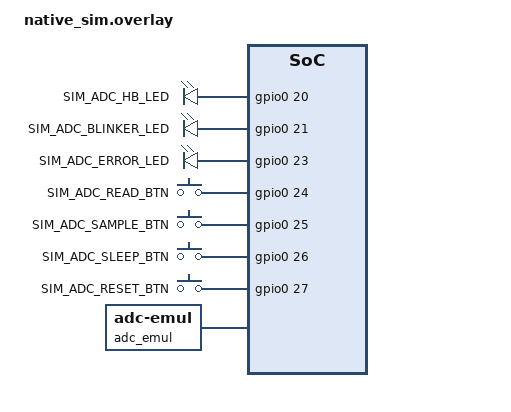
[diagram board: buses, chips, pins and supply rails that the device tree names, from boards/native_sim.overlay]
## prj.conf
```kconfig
CONFIG_LOG=y
# CONFIG_LOG_MODE_DEFERRED=y
CONFIG_LOG_BUFFER_SIZE=2048
# CONFIG_MAIN_STACK_SIZE=4096

CONFIG_SMF=y
CONFIG_EVENTS=y
CONFIG_ADC=y
# CONFIG_PWM=y

CONFIG_DEBUG_OPTIMIZATIONS=y
CONFIG_DEBUG_THREAD_INFO=y

CONFIG_FPU=y
CONFIG_ADC_ASYNC=y
CONFIG_SYS_CLOCK_TICKS_PER_SEC=1000
```

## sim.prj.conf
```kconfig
CONFIG_GPIO=y
CONFIG_GPIO_EMUL=y

CONFIG_INPUT=y
CONFIG_INPUT_GPIO_KEYS=y
CONFIG_LOG=y
CONFIG_LOG_MODE_IMMEDIATE=y
CONFIG_LOG_MODE_DEFERRED=n
CONFIG_LOG_BUFFER_SIZE=0
CONFIG_LOG_DEFAULT_LEVEL=4
CONFIG_EVENTS=y

CONFIG_ZTEST=y
CONFIG_GPIO_EMUL=y
# CONFIG_LOG_BACKEND_UART=y
CONFIG_SYS_CLOCK_TICKS_PER_SEC=1000
```

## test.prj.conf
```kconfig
# Test-specific configuration file
# This file enables ztest and is used when building for testing

CONFIG_LOG=y
CONFIG_LOG_MODE_IMMEDIATE=y
CONFIG_LOG_MODE_DEFERRED=n
CONFIG_LOG_DEFAULT_LEVEL=4

CONFIG_GPIO=y
CONFIG_EVENTS=y

# Enable Zephyr Test Framework (ztest) for unit testing
CONFIG_ZTEST=y
CONFIG_ZTEST_STACK_SIZE=2048

# When ztest is enabled, it provides its own main() function
# The student's main.c will be excluded from the test build
CONFIG_SYS_CLOCK_TICKS_PER_SEC=1000
```

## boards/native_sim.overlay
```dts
#include <zephyr/dt-bindings/adc/adc.h>

/ {
    aliases {
        heartbeat   = &sim_adc_led1;
        blinker     = &sim_adc_led2;
        error       = &sim_adc_led4;

        readbutton      = &sim_adc_btn1;   /* BUTTON0 → read_button   */
        samplingbutton  = &sim_adc_btn2;   /* BUTTON1 → sample_button */
        sleepbutton     = &sim_adc_btn3;   /* BUTTON2 → sleep_button  */
        resetbutton     = &sim_adc_btn4;   /* BUTTON3 → reset_button  */

        vadc    = &vadc_ch;
        diffadc = &diffadc_ch;
    };

    sim_adc_leds {
        compatible = "gpio-leds";

        sim_adc_led1: led_20 {
            gpios = <&gpio0 20 GPIO_ACTIVE_HIGH>;
            label = "SIM_ADC_HB_LED";
        };
        sim_adc_led2: led_21 {
            gpios = <&gpio0 21 GPIO_ACTIVE_HIGH>;
            label = "SIM_ADC_BLINKER_LED";
        };
        sim_adc_led4: led_23 {
            gpios = <&gpio0 23 GPIO_ACTIVE_HIGH>;
            label = "SIM_ADC_ERROR_LED";
        };
    };

    sim_adc_keys {
        compatible = "gpio-keys";

        sim_adc_btn1: key_24 {
            gpios = <&gpio0 24 GPIO_ACTIVE_HIGH>;
            label = "SIM_ADC_READ_BTN";
            zephyr,code = <1>;
        };
        sim_adc_btn2: key_25 {
            gpios = <&gpio0 25 GPIO_ACTIVE_HIGH>;
            label = "SIM_ADC_SAMPLE_BTN";
            zephyr,code = <1>;
        };
        sim_adc_btn3: key_26 {
            gpios = <&gpio0 26 GPIO_ACTIVE_HIGH>;
            label = "SIM_ADC_SLEEP_BTN";
            zephyr,code = <1>;
        };
        sim_adc_btn4: key_27 {
            gpios = <&gpio0 27 GPIO_ACTIVE_HIGH>;
            label = "SIM_ADC_RESET_BTN";
            zephyr,code = <1>;
        };
    };

    adc_emul: adc_emul {
        compatible = "zephyr,adc-emul";
        nchannels = <3>;          /* 0=AIN0, 1=AIN1, 2=AIN2 */
        ref-internal-mv = <3000>;

        #io-channel-cells = <1>;
        #address-cells = <1>;
        #size-cells = <0>;
        status = "okay";

        vadc_ch: channel@0 {
            reg = <0>;
            zephyr,gain             = "ADC_GAIN_1_5";
            zephyr,reference        = "ADC_REF_INTERNAL";
            zephyr,acquisition-time = <ADC_ACQ_TIME_DEFAULT>;
            zephyr,resolution       = <12>;
        };

        diffadc_ch: channel@1 {
            reg = <1>;
            zephyr,gain             = "ADC_GAIN_1";
            zephyr,reference        = "ADC_REF_INTERNAL";
            zephyr,acquisition-time = <ADC_ACQ_TIME_DEFAULT>;
            zephyr,resolution       = <16>;
            // zephyr,differential;
            // zephyr,input-negative   = <2>;
        };

        /* AIN2 — negative input for differential channel@1 */
        // channel@2 {
        //     reg = <2>;
        //     zephyr,gain             = "ADC_GAIN_1_5";
        //     zephyr,reference        = "ADC_REF_INTERNAL";
        //     zephyr,acquisition-time = <ADC_ACQ_TIME_DEFAULT>;
        //     zephyr,resolution       = <12>;
        // };
    };
};

&gpio0 {
    status = "okay";
};
```

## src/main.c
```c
#include <zephyr/kernel.h>
#include <zephyr/device.h>
#include <zephyr/devicetree.h>
#include <zephyr/drivers/gpio.h> 
#include <zephyr/logging/log.h>  // needs CONFIG_LOG=y in your prj.conf
#include <zephyr/drivers/adc.h> // CONFIG_ADC=y
// #include <zephyr/drivers/pwm.h> // CONFIG_PWM=y
#include <zephyr/smf.h> // CONFIG_SMF=y

#include "calc_cycles.h"
#include "bme554_lib.h"

LOG_MODULE_REGISTER(main, LOG_LEVEL_DBG);

/* DEFINE MACROS */
#define MS_PER_HZ                       1000
#define HB_ON_TIME                      250
#define MAX_FREQ_HZ                     5
#define MIN_FREQ_HZ                     1
#define MIN_V_MV                        0
#define MAX_V_MV                        3000
#define READ_EVENT                      BIT(0)
#define SLEEP_EVENT                     BIT(1)
#define TIMER_COMPLETE_EVENT            BIT(2)
#define RESET_EVENT                     BIT(3)
#define SAMPLE_EVENT                    BIT(4)
#define BLINKING_TIME_MS                5000
#define BUFFER_ARRAY_LEN                800
#define SAMPLE_INTERVAL                 2500
#define ADC_DT_SPEC_GET_BY_ALIAS(adc_alias)                 \
{                                                           \
    .dev = DEVICE_DT_GET(DT_PARENT(DT_ALIAS(adc_alias))),   \
    .channel_id = DT_REG_ADDR(DT_ALIAS(adc_alias)),         \
    ADC_CHANNEL_CFG_FROM_DT_NODE(DT_ALIAS(adc_alias))       \
}

/* DEFINE GLOBALS AND DT-BASED HARDWARE STRUCTS */
// buttons
const struct gpio_dt_spec read_button = GPIO_DT_SPEC_GET(DT_ALIAS(readbutton), gpios);
const struct gpio_dt_spec sample_button = GPIO_DT_SPEC_GET(DT_ALIAS(samplingbutton), gpios);
const struct gpio_dt_spec sleep_button = GPIO_DT_SPEC_GET(DT_ALIAS(sleepbutton), gpios);
const struct gpio_dt_spec reset_button = GPIO_DT_SPEC_GET(DT_ALIAS(resetbutton), gpios);

// LEDs
const struct gpio_dt_spec heartbeat_led = GPIO_DT_SPEC_GET(DT_ALIAS(heartbeat), gpios);
const struct gpio_dt_spec blinker_led = GPIO_DT_SPEC_GET(DT_ALIAS(blinker), gpios);
const struct gpio_dt_spec error_led = GPIO_DT_SPEC_GET(DT_ALIAS(error), gpios);

/* DEFINE CALLBACK FUNCTIONS */
void read_button_callback(const struct device *dev, struct gpio_callback *cb, uint32_t pins);
void sample_button_callback(const struct device *dev, struct gpio_callback *cb, uint32_t pins);
void sleep_button_callback(const struct device *dev, struct gpio_callback *cb, uint32_t pins);
void reset_button_callback(const struct device *dev, struct gpio_callback *cb, uint32_t pins);

/* DEFINE TIMER FUNCTIONS */
void blinking_interrupt_handler(struct k_timer *blinking_timer);
void led_on_interrupt_handler(struct k_timer *led_on_timer);
void led_off_interrupt_handler(struct k_timer *led_off_timer);
void led_on_stop_handler(struct k_timer *led_on_timer);

/* DEFINE THREAD FUNCTIONS */
void heartbeat_thread(void *, void *, void *);

/* DEFINE KERNEL EVENTS */
K_EVENT_DEFINE(button_events);

/* INITIALIZE GPIO CALLBACK STRUCTS */
static struct gpio_callback read_button_cb;
static struct gpio_callback sample_button_cb;
static struct gpio_callback sleep_button_cb;
static struct gpio_callback reset_button_cb;

/* INITIALIZE ADC STRUCT */
static const struct adc_dt_spec adc_vadc = ADC_DT_SPEC_GET_BY_ALIAS(vadc);
static const struct adc_dt_spec diff_vadc = ADC_DT_SPEC_GET_BY_ALIAS(diffadc);

/* DEFINE TIMERS */
K_TIMER_DEFINE(blinking_timer, blinking_interrupt_handler, NULL);
K_TIMER_DEFINE(led_on_timer, led_on_interrupt_handler, led_on_stop_handler);
K_TIMER_DEFINE(led_off_timer, led_off_interrupt_handler, NULL);

/* DEFINE THREADS */
K_THREAD_DEFINE(heartbeat_thread_id, 1024, heartbeat_thread, NULL, NULL, NULL, 5, 0, 0);

/* DECLARE STRUCT STATE TABLE AND STRUCT */
struct s_object {
    struct smf_ctx ctx;
    
    /* USER-DEFINED VARS FOR STATE MACHINE*/
    int32_t millivolts;
    float freq;
    float ontime;
    float offtime;
};

struct s_object s_context = {
    .millivolts = 0,
    .freq = 0,
    .ontime = 0,
    .offtime = 0,
};

int16_t buf;
struct adc_sequence sequence = {
    .buffer = &buf,
    .buffer_size = sizeof(buf), // bytes
};

struct adc_sequence_options options = {
        .extra_samplings = BUFFER_ARRAY_LEN - 1,
        .interval_us = SAMPLE_INTERVAL,
};

int16_t diff_buf[BUFFER_ARRAY_LEN];
struct adc_sequence diff_sequence = {
        .options = &options,
        .buffer = &diff_buf,
        .buffer_size = sizeof(diff_buf),
};

/* DECLARE STATE FUNCTIONS */
static void init(void *o);
static void reset(void *o);
static void idle_entry(void *o);
static void idle_run(void *o);
static void idle_exit(void *o);
static void sleep_run(void *o);
static void reading_entry(void *o);
static void reading_run(void *o);
static void reading_exit(void *o);
static void blinking_entry(void *o);
static void blinking_run(void *o);
static void blinking_exit(void *o);
static void error_entry(void *o);
static void error_run(void *o);
static void error_exit(void *o);
static void sample_entry(void *o);
static void sample_run(void *o);
static void sample_exit(void *o);

/* DEFINE STATES FOR STATE MACHINE */
enum state { INIT, RESET, IDLE, SLEEP, READING, BLINKING, ERROR, SAMPLE };

/* POPULATE STATE TABLE */
static const struct smf_state states[] = {
    [INIT] = SMF_CREATE_STATE(NULL, init, NULL, NULL, NULL),
    [RESET] = SMF_CREATE_STATE(NULL, reset, NULL, NULL, NULL),
    [IDLE] = SMF_CREATE_STATE(idle_entry, idle_run, idle_exit, NULL, NULL),
    [SLEEP] = SMF_CREATE_STATE(NULL, sleep_run, NULL, NULL, NULL),
    [READING] = SMF_CREATE_STATE(reading_entry, reading_run, reading_exit, NULL, NULL),
    [BLINKING] = SMF_CREATE_STATE(blinking_entry, blinking_run, blinking_exit, NULL, NULL),
    [ERROR] = SMF_CREATE_STATE(error_entry, error_run, error_exit, NULL, NULL),
    [SAMPLE] = SMF_CREATE_STATE(sample_entry, sample_run, sample_exit, NULL, NULL),
};

/* DECLARE GLOBAL VARIABLES */
int timer_error = 0;

int main(void)
{
    smf_set_initial(SMF_CTX(&s_context), &states[INIT]);
    
    while (1) {
        if (timer_error < 0) {
            return timer_error;
        }
        
        int err = smf_run_state(SMF_CTX(&s_context));
        if (err) {
            /* handle return code and terminate state machine */
            smf_set_terminate(SMF_CTX(&s_context), err);
            break;
        }
    }
    
    return 0;
}

void read_button_callback(const struct device *dev, struct gpio_callback *cb, uint32_t pins) {
    ADC_READ_TRIGGERED();
    k_event_post(&button_events, READ_EVENT);
}

void sample_button_callback(const struct device *dev, struct gpio_callback *cb, uint32_t pins) {
    k_event_post(&button_events, SAMPLE_EVENT);
    ADC_SAMPLE_TRIGGERED();
}

void sleep_button_callback(const struct device *dev, struct gpio_callback *cb, uint32_t pins) {
    k_event_post(&button_events, SLEEP_EVENT);
}

void reset_button_callback(const struct device *dev, struct gpio_callback *cb, uint32_t pins) {
    k_event_post(&button_events, RESET_EVENT);
}

void heartbeat_thread(void *, void *, void *) {
    while (1) {
        k_msleep(HB_ON_TIME);  // scheduler can run other tasks now
        int err = gpio_pin_toggle_dt(&heartbeat_led);
        if (err < 0) {
            LOG_ERR("Failed to toggle heartbeat LED.");
            timer_error = err;
            return;
        }
        LOG_INF("Heartbeat LED toggled");
        k_msleep(MS_PER_HZ - HB_ON_TIME); // scheduler can run other tasks now
        err = gpio_pin_toggle_dt(&heartbeat_led);
        if (err < 0) {
            LOG_ERR("Failed to toggle heartbeat LED.");
            timer_error = err;
            return;
        }
        LOG_INF("Heartbeat LED toggled");
    }
}

void blinking_interrupt_handler(struct k_timer *blinking_timer) {
    /* STOP TIMERS */
    k_timer_stop(&led_on_timer);
    k_timer_stop(&led_off_timer);
    
    k_event_post(&button_events, TIMER_COMPLETE_EVENT);
    ADC_BLINK_COMPLETE();
}

void led_on_interrupt_handler(struct k_timer *led_on_timer) {
    int err;
    
    /* TURN OFF LED */
    err =  gpio_pin_set_dt(&blinker_led, 0);
    if (err < 0) {
        LOG_ERR("Failed to set blinker LED.");
        smf_set_terminate(SMF_CTX(&s_context), err);
    }
    
    /* START TIMER */
    k_timer_start(&led_off_timer,
                  K_MSEC(s_context.offtime),
                  K_NO_WAIT);
}

void led_off_interrupt_handler(struct k_timer *led_off_timer) {
    int err;
    
    /* TURN OFF LED */
    err =  gpio_pin_set_dt(&blinker_led, 1);
    if (err < 0) {
        LOG_ERR("Failed to set blinker LED.");
        smf_set_terminate(SMF_CTX(&s_context), err);
    }
    
    /* START TIMERS */
    k_timer_start(&led_on_timer,
                  K_MSEC(s_context.ontime),
                  K_NO_WAIT);
}

void led_on_stop_handler(struct k_timer *led_on_timer) {
    int err;
    
    /* TURN OFF LED */
    err =  gpio_pin_set_dt(&blinker_led, 0);
    if (err < 0) {
        LOG_ERR("Failed to set blinker LED.");
        smf_set_terminate(SMF_CTX(&s_context), err);
    }
}

static void init(void *o) {
    int err = 0;
    
    /* CHECK INTERFACE READY */
    if (!device_is_ready(read_button.port)) {
        LOG_ERR("gpio0 interface not ready.");
        smf_set_terminate(SMF_CTX(&s_context), -1);
    }
    if (!device_is_ready(adc_vadc.dev)) {
        LOG_ERR("ADC controller device(s) not ready");
        smf_set_terminate(SMF_CTX(&s_context), -1);
    }
    if (!device_is_ready(diff_vadc.dev)) {
        LOG_ERR("ADC controller device(s) not ready");
        smf_set_terminate(SMF_CTX(&s_context), -1);
    }
    
    /* CONFIGURE BUTTON GPIO PINS */
    err = gpio_pin_configure_dt(&read_button, GPIO_INPUT);
    if (err < 0) {
        LOG_ERR("Cannot configure sleep button.");
        smf_set_terminate(SMF_CTX(&s_context), err);
    }
    err = gpio_pin_configure_dt(&sample_button, GPIO_INPUT);
    if (err < 0) {
        LOG_ERR("Cannot configure sample button.");
        smf_set_terminate(SMF_CTX(&s_context), err);
    }
    err = gpio_pin_configure_dt(&sleep_button, GPIO_INPUT);
    if (err < 0) {
        LOG_ERR("Cannot configure sleep button.");
        smf_set_terminate(SMF_CTX(&s_context), err);
    }
    err = gpio_pin_configure_dt(&reset_button, GPIO_INPUT);
    if (err < 0) {
        LOG_ERR("Cannot configure reset button.");
        smf_set_terminate(SMF_CTX(&s_context), err);
    }
    
    /* CONFIGURE BUTTON CALLBACKS */
    // read
    err = gpio_pin_interrupt_configure_dt(&read_button, GPIO_INT_EDGE_TO_ACTIVE); 
    if (err < 0) {
        LOG_ERR("Cannot attach callback to sw0.");
        smf_set_terminate(SMF_CTX(&s_context), err);
    }
    gpio_init_callback(&read_button_cb, read_button_callback, BIT(read_button.pin));
    err = gpio_add_callback_dt(&read_button, &read_button_cb);
    if (err < 0) {
        LOG_ERR("Cannot add callback to sw0.");
        smf_set_terminate(SMF_CTX(&s_context), err);
    }
    // sample
    err = gpio_pin_interrupt_configure_dt(&sample_button, GPIO_INT_EDGE_TO_ACTIVE); 
    if (err < 0) {
        LOG_ERR("Cannot attach callback to sw1.");
        smf_set_terminate(SMF_CTX(&s_context), err);
    }
    gpio_init_callback(&sample_button_cb, sample_button_callback, BIT(sample_button.pin));
    err = gpio_add_callback_dt(&sample_button, &sample_button_cb);
    if (err < 0) {
        LOG_ERR("Cannot add callback to sw1.");
        smf_set_terminate(SMF_CTX(&s_context), err);
    }
    // sleep
    err = gpio_pin_interrupt_configure_dt(&sleep_button, GPIO_INT_EDGE_TO_ACTIVE); 
    if (err < 0) {
        LOG_ERR("Cannot attach callback to sw1.");
        smf_set_terminate(SMF_CTX(&s_context), err);
    }
    gpio_init_callback(&sleep_button_cb, sleep_button_callback, BIT(sleep_button.pin));
    err = gpio_add_callback_dt(&sleep_button, &sleep_button_cb);
    if (err < 0) {
        LOG_ERR("Cannot add callback to sw1.");
        smf_set_terminate(SMF_CTX(&s_context), err);
    }
    // reset
    err = gpio_pin_interrupt_configure_dt(&reset_button, GPIO_INT_EDGE_TO_ACTIVE); 
    if (err < 0) {
        LOG_ERR("Cannot attach callback to sw3.");
        smf_set_terminate(SMF_CTX(&s_context), err);
    }
    gpio_init_callback(&reset_button_cb, reset_button_callback, BIT(reset_button.pin));
    err = gpio_add_callback_dt(&reset_button, &reset_button_cb);
    if (err < 0) {
        LOG_ERR("Cannot add callback to sw3.");
        smf_set_terminate(SMF_CTX(&s_context), err);
    }
    
    /* CONFIGURE LEDs */
    err = gpio_pin_configure_dt(&heartbeat_led, GPIO_OUTPUT_ACTIVE);
    if (err < 0) {
        LOG_ERR("Cannot configure heartbeat LED.");
        smf_set_terminate(SMF_CTX(&s_context), err);
    }
    err = gpio_pin_configure_dt(&blinker_led, GPIO_OUTPUT_INACTIVE);
    if (err < 0) {
        LOG_ERR("Cannot configure iv_pump LED.");
        smf_set_terminate(SMF_CTX(&s_context), err);
    }
    err = gpio_pin_configure_dt(&error_led, GPIO_OUTPUT_INACTIVE);
    if (err < 0) {
        LOG_ERR("Cannot configure error LED.");
        smf_set_terminate(SMF_CTX(&s_context), err);
    }
    
    /* CONFIGURE ADC CHANNEL */
    err = adc_channel_setup_dt(&adc_vadc);
    if (err < 0) {
        LOG_ERR("Could not setup ADC channel (%d)", err);
        smf_set_terminate(SMF_CTX(&s_context), err);
    }
    err = adc_channel_setup_dt(&diff_vadc);
    if (err < 0) {
        LOG_ERR("Could not setup ADC channel (%d)", err);
        smf_set_terminate(SMF_CTX(&s_context), err);
    }
    
    k_event_init(&button_events);
    
    smf_set_state(SMF_CTX(&s_context), &states[IDLE]);
}

static void reset(void *o) {
    RESET_STATUS();
    smf_set_state(SMF_CTX(&s_context), &states[IDLE]);
}

static void idle_entry(void *o) {
    int err = 0;
    
    /* RECONFIGURE BUTTONS TO ENABLE CALLBACKS */
    err = gpio_pin_interrupt_configure_dt(&read_button, GPIO_INT_EDGE_TO_ACTIVE); 
    if (err < 0) {
        LOG_ERR("Cannot attach callback to sw1.");
        smf_set_terminate(SMF_CTX(&s_context), err);
    }
    err = gpio_pin_interrupt_configure_dt(&sample_button, GPIO_INT_EDGE_TO_ACTIVE); 
    if (err < 0) {
        LOG_ERR("Cannot attach callback to sw1.");
        smf_set_terminate(SMF_CTX(&s_context), err);
    }
}

static void idle_run(void *o) {
    uint32_t events = k_event_wait(&button_events, READ_EVENT | SLEEP_EVENT | RESET_EVENT | SAMPLE_EVENT, true, K_FOREVER);
    if (events & READ_EVENT) {
        LOG_INF("Read button pressed");
        smf_set_state(SMF_CTX(&s_context), &states[READING]);
    }
    if (events & SLEEP_EVENT) {
        LOG_INF("Sleep button pressed");
        smf_set_state(SMF_CTX(&s_context), &states[SLEEP]);
    }
    if (events & RESET_EVENT) {
        LOG_INF("Reset button pressed");
        smf_set_state(SMF_CTX(&s_context), &states[RESET]);
    }
    if (events & SAMPLE_EVENT) {
        LOG_INF("Sample button pressed");
        smf_set_state(SMF_CTX(&s_context), &states[SAMPLE]);
    }
}

static void idle_exit(void *o) {
    int err = 0;
    
    /* RECONFIGURE BUTTONS TO DISABLE CALLBACKS */
    err = gpio_pin_interrupt_configure_dt(&read_button, GPIO_INT_DISABLE); 
    if (err < 0) {
        LOG_ERR("Cannot attach callback to sw0.");
        smf_set_terminate(SMF_CTX(&s_context), err);
    }
    err = gpio_pin_interrupt_configure_dt(&sample_button, GPIO_INT_DISABLE); 
    if (err < 0) {
        LOG_ERR("Cannot attach callback to sw0.");
        smf_set_terminate(SMF_CTX(&s_context), err);
    }
}

static void sleep_run(void *o) {
    SLEEP_STATE();
    uint32_t events = k_event_wait(&button_events, SLEEP_EVENT | RESET_EVENT, true, K_FOREVER);
    if (events & SLEEP_EVENT) {
        LOG_INF("Sleep button pressed");
        smf_set_state(SMF_CTX(&s_context), &states[IDLE]);
    }
    if (events & RESET_EVENT) {
        LOG_INF("Reset button pressed");
        smf_set_state(SMF_CTX(&s_context), &states[RESET]);
    }
}

static void reading_entry(void *o) {
    int err = 0;
    
    /* RECONFIGURE BUTTONS TO DISABLE CALLBACKS */
    err = gpio_pin_interrupt_configure_dt(&sleep_button, GPIO_INT_DISABLE); 
    if (err < 0) {
        LOG_ERR("Cannot attach callback to sw1.");
        smf_set_terminate(SMF_CTX(&s_context), err);
    }
    err = gpio_pin_interrupt_configure_dt(&reset_button, GPIO_INT_DISABLE); 
    if (err < 0) {
        LOG_ERR("Cannot attach callback to sw3.");
        smf_set_terminate(SMF_CTX(&s_context), err);
    }
    
    (void)adc_sequence_init_dt(&adc_vadc, &sequence);
}

static void reading_run(void *o) {
    int ret;
    ret = adc_read(adc_vadc.dev, &sequence);
    if (ret < 0) {
        LOG_ERR("Could not read (%d)", ret);
    } else {
        LOG_DBG("Raw ADC Buffer: %d", buf);
    }
    
    int32_t val_mv;
    val_mv = buf;
    ret = adc_raw_to_millivolts_dt(&adc_vadc, &val_mv);
    if (ret < 0) {
        LOG_ERR("Buffer cannot be converted to mV; returning raw buffer value.");
    } else {
        LOG_INF("ADC Value (mV): %d", val_mv);
    }
    
    s_context.millivolts = val_mv;
    
    if (val_mv < MIN_V_MV || val_mv > MAX_V_MV) {
        smf_set_state(SMF_CTX(&s_context), &states[ERROR]);
    } else {
        smf_set_state(SMF_CTX(&s_context), &states[BLINKING]);
    }
    
    float max_v = MAX_V_MV;
    s_context.freq = ((s_context.millivolts * (MAX_FREQ_HZ - MIN_FREQ_HZ)) / max_v) + MIN_FREQ_HZ;
    LOG_INF("Mapped frequency (Hz): %f", (double)s_context.freq);
    ADC_READ_COMPLETE(val_mv, (double)s_context.freq);
    s_context.ontime = (MS_PER_HZ / s_context.freq) / 10;
    s_context.offtime = (MS_PER_HZ / s_context.freq) - s_context.ontime;
}

static void reading_exit(void *o) {
    int err = 0;
    
    /* RECONFIGURE BUTTONS TO ENABLE CALLBACKS */
    err = gpio_pin_interrupt_configure_dt(&sleep_button, GPIO_INT_EDGE_TO_ACTIVE); 
    if (err < 0) {
        LOG_ERR("Cannot attach callback to sw1.");
        smf_set_terminate(SMF_CTX(&s_context), err);
    }
    err = gpio_pin_interrupt_configure_dt(&reset_button, GPIO_INT_EDGE_TO_ACTIVE); 
    if (err < 0) {
        LOG_ERR("Cannot attach callback to sw3.");
        smf_set_terminate(SMF_CTX(&s_context), err);
    }
}

static void blinking_entry(void *o) {
    int err;
    
    /* TURN ON LED */
    err =  gpio_pin_set_dt(&blinker_led, 1);
    if (err < 0) {
        LOG_ERR("Failed to set blinker LED.");
        smf_set_terminate(SMF_CTX(&s_context), err);
    }
    
    /* START TIMERS */
    k_timer_start(&led_on_timer,
                  K_MSEC(s_context.ontime),
                  K_NO_WAIT);
    k_timer_start(&blinking_timer,
                  K_MSEC(BLINKING_TIME_MS),
                  K_NO_WAIT);
}

static void blinking_run(void *o) {
    uint32_t events = k_event_wait(&button_events, TIMER_COMPLETE_EVENT | SLEEP_EVENT | RESET_EVENT, true, K_FOREVER);
    if (events & TIMER_COMPLETE_EVENT) {
        LOG_INF("Timer is complete!");
        smf_set_state(SMF_CTX(&s_context), &states[IDLE]);
    }
    if (events & SLEEP_EVENT) {
        LOG_INF("Sleep button pressed");
        smf_set_state(SMF_CTX(&s_context), &states[SLEEP]);
    }
    if (events & RESET_EVENT) {
        LOG_INF("Reset button pressed");
        smf_set_state(SMF_CTX(&s_context), &states[RESET]);
    }
}

static void blinking_exit(void *o) {
    k_timer_stop(&blinking_timer);
    k_timer_stop(&led_on_timer);
    k_timer_stop(&led_off_timer);
    
    LOG_INF("Blinking timer complete");
}

static void error_entry(void *o) {
    int err = 0;
    
    /* RECONFIGURE BUTTON TO DISABLE CALLBACK */
    err = gpio_pin_interrupt_configure_dt(&sleep_button, GPIO_INT_DISABLE); 
    if (err < 0) {
        LOG_ERR("Cannot attach callback to sw1.");
        smf_set_terminate(SMF_CTX(&s_context), err);
    }
    
    /* TURN ON LED */
    err =  gpio_pin_set_dt(&error_led, 1);
    if (err < 0) {
        LOG_ERR("Failed to set error LED.");
        smf_set_terminate(SMF_CTX(&s_context), err);
    }
}

static void error_run(void *o) {
    ERROR_STATE();
    uint32_t events = k_event_wait(&button_events, RESET_EVENT, true, K_FOREVER);
    if (events & RESET_EVENT) {
        LOG_INF("Reset button pressed");
        smf_set_state(SMF_CTX(&s_context), &states[RESET]);
    }
}

static void error_exit(void *o) {
    int err = 0;
    
    /* RECONFIGURE BUTTON TO ENABLE CALLBACK */
    err = gpio_pin_interrupt_configure_dt(&sleep_button, GPIO_INT_EDGE_TO_ACTIVE); 
    if (err < 0) {
        LOG_ERR("Cannot attach callback to sw1.");
        smf_set_terminate(SMF_CTX(&s_context), err);
    }
    
    /* TURN OFF LED */
    err =  gpio_pin_set_dt(&error_led, 0);
    if (err < 0) {
        LOG_ERR("Failed to set error LED.");
        smf_set_terminate(SMF_CTX(&s_context), err);
    }
}

static void sample_entry(void *o) {
    int err = 0;
    
    /* RECONFIGURE BUTTONS TO DISABLE CALLBACKS */
    err = gpio_pin_interrupt_configure_dt(&sleep_button, GPIO_INT_DISABLE); 
    if (err < 0) {
        LOG_ERR("Cannot attach callback to sw1.");
        smf_set_terminate(SMF_CTX(&s_context), err);
    }
    err = gpio_pin_interrupt_configure_dt(&reset_button, GPIO_INT_DISABLE); 
    if (err < 0) {
        LOG_ERR("Cannot attach callback to sw3.");
        smf_set_terminate(SMF_CTX(&s_context), err);
    }
    
    (void)adc_sequence_init_dt(&diff_vadc, &diff_sequence);
    // ADC_SAMPLE_TRIGGERED();
}

static void sample_run(void *o) {
    int ret;
    ret = adc_read(diff_vadc.dev, &diff_sequence);
    if (ret < 0) {
        LOG_ERR("Could not read (%d)", ret);
        smf_set_state(SMF_CTX(&s_context), &states[ERROR]);
        return;
    } else {
        LOG_DBG("Successfully read into diff_buf");
    }
    
    // ADC_SAMPLE_COMPLETE_NOTICE();

    int cycles = calc_cycles(diff_buf, BUFFER_ARRAY_LEN);
    LOG_INF("The calculated number of cycles is %d", cycles);
    ADC_CYCLES_COMPUTED(cycles);
    LOG_HEXDUMP_INF(diff_buf, sizeof(diff_buf), "Differential ADC Samples");
    
    ADC_SAMPLE_COMPLETE();
    smf_set_state(SMF_CTX(&s_context), &states[IDLE]);
} 

static void sample_exit(void *o) {
    int err;
    
    /* RECONFIGURE BUTTONS TO ENABLE CALLBACKS */
    err = gpio_pin_interrupt_configure_dt(&sleep_button, GPIO_INT_EDGE_TO_ACTIVE); 
    if (err < 0) {
        LOG_ERR("Cannot attach callback to sw1.");
        smf_set_terminate(SMF_CTX(&s_context), err);
    }
    err = gpio_pin_interrupt_configure_dt(&reset_button, GPIO_INT_EDGE_TO_ACTIVE); 
    if (err < 0) {
        LOG_ERR("Cannot attach callback to sw3.");
        smf_set_terminate(SMF_CTX(&s_context), err);
    }
    err = gpio_pin_interrupt_configure_dt(&read_button, GPIO_INT_EDGE_TO_ACTIVE); 
    if (err < 0) {
        LOG_ERR("Cannot attach callback to sw3.");
        smf_set_terminate(SMF_CTX(&s_context), err);
    }
}
```

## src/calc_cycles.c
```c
#include <zephyr/kernel.h>

int calc_cycles(int16_t *buffer, int buffer_size) {
    int cycles = 0;
    for (int i = 0; i < buffer_size - 1; i++) {
        if (buffer[i] < 0 && buffer[i+1] >= 0) {
            cycles++;
        }
    }
    return cycles;
}
```
